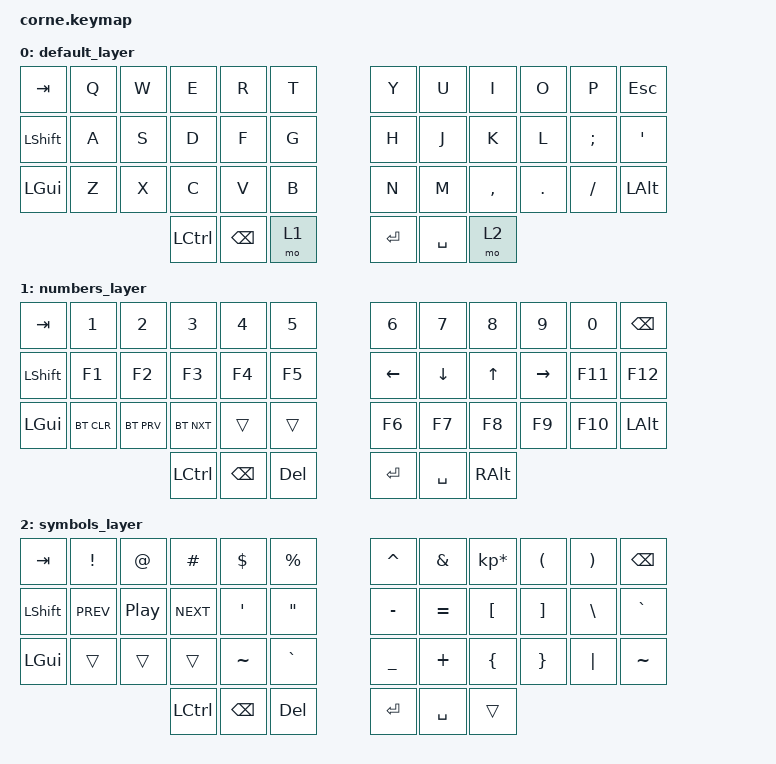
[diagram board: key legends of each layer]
/*
 * Copyright (c) 2020 The ZMK Contributors
 *
 * SPDX-License-Identifier: MIT
 */

#include <behaviors.dtsi>
#include <dt-bindings/zmk/keys.h>
#include <dt-bindings/zmk/bt.h>

/ {
        keymap {
                compatible = "zmk,keymap";

                default_layer {
                        // -----------------------------------------------------------------------------------------
// | TAB |  Q  |  W  |  E  |  R  |  T  |                 |  Y  |  U   |  I  |  O  |  P  | SYMBOLS|
// | SHIFT|  A  |  S  |  D  |  F  |  G  |                 |  H  |  J   |  K  |  L  |  ;  |  '   |
// | CMD  |  Z  |  X  |  C  |  V  |  B  |                 |  N  |  M   |  ,  |  .  |  /  | ESC |
//               | CTRL | BKSP | NUMBERS|                 | ENT | SPACE | SYMBOLS |
                        bindings = <
   &kp TAB &kp Q &kp W &kp E &kp R &kp T                 &kp Y &kp U  &kp I     &kp O   &kp P   &kp ESC 
   &kp LSHFT &kp A &kp S &kp D &kp F &kp G               &kp H &kp J  &kp K     &kp L   &kp SEMI &kp SQT
   &kp LGUI &kp Z &kp X &kp C &kp V &kp B                &kp N &kp M  &kp COMMA &kp DOT &kp FSLH &kp LALT 
                &kp LCTRL &kp BSPC &mo 1        &kp RET &kp SPACE &mo 2
                        >;
                };
                numbers_layer {
// -----------------------------------------------------------------------------------------
// |  ESC |  1  |  2  |  3  |  4  |  5  |               |  6  |  7  |  8  |  9  |  0  | DEL |
// | SHIFT| BT_CLR | BT_PREV | BT_NXT| BT4 | BT5 |      | LFT | DWN |  UP | RGT |     | F12  |
// | CMD |  F1  | F2  | F3  | F4  | F5  |               |  F6 | F7  |  F8 |  F9 | F10 | F11  |
//                 | LCTRL| BKSP  | SPC |               | ENT | SPACE  | ALT |
                        bindings = <
   &kp TAB &kp N1 &kp N2 &kp N3 &kp N4 &kp N5                       &kp N6 &kp N7 &kp N8 &kp N9 &kp N0  &kp BSPC 
   &kp LSHFT  &kp F1 &kp F2 &kp F3 &kp F4 &kp F5                     &kp LEFT &kp DOWN &kp UP &kp RIGHT &kp F11 &kp F12 
   &kp LGUI &bt BT_CLR &bt BT_PRV &bt BT_NXT &trans &trans            &kp F6 &kp F7 &kp F8 &kp F9 &kp F10 &kp LALT 
                        &kp LCTRL &kp BSPC &kp DEL                     &kp RET &kp SPACE &kp RALT
                        >;
                };

                symbols_layer {
// -----------------------------------------------------------------------------------------
// |  ESC |  !  |  @  |  #  |  $  |  %  |                       |  ^  |  &  |  *  |  (  |  )  | DEL |
// | SHIFT| PREV| PLAY/PAUSE| NEXT|  |  |                       |  -  |  =  |  [  |  ]  |  \  |  `   |
// | CMD  |     |     |     |     |     |                       |  _  |  +  |  {  |  }  | "|" |  ~   |
//                    | CTRL| BKSP| DELETE |                   | ENT | SPACE | ALT |


                        bindings = <
   &kp TAB &kp EXCL &kp AT &kp HASH &kp DLLR &kp PRCNT                         &kp CARET &kp AMPS  &kp KP_MULTIPLY &kp LPAR &kp RPAR  &kp BSPC 
   &kp LSHFT &kp C_PREV &kp C_PP &kp C_NEXT   &kp SQT &kp DQT                   &kp MINUS &kp EQUAL &kp LBKT        &kp RBKT &kp BSLH &kp GRAVE
   &kp LGUI &trans   &trans &trans   &kp TILDE &kp GRAVE                         &kp UNDER &kp PLUS  &kp LBRC        &kp RBRC &kp PIPE &kp TILDE 
                        &kp LCTRL &kp BSPC   &kp DEL                                &kp RET   &kp SPACE &trans 
                        >;
                };
        };
};
